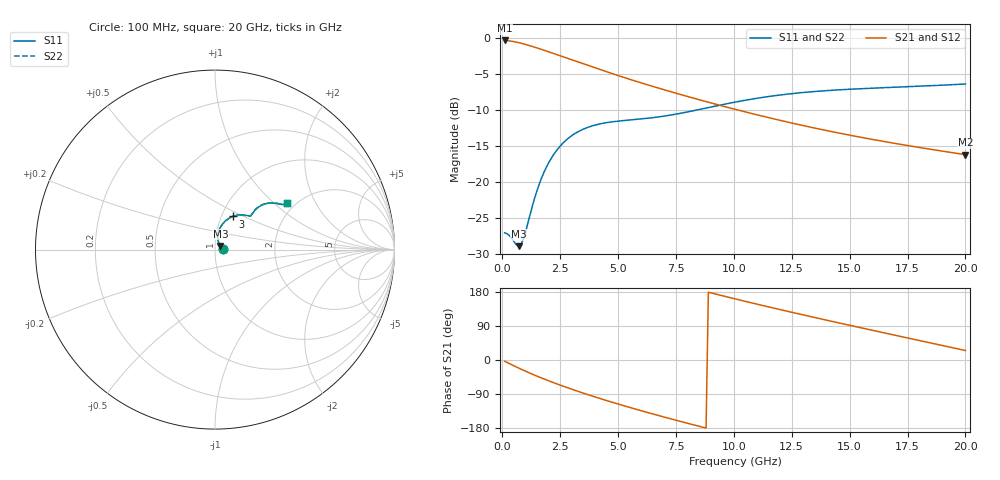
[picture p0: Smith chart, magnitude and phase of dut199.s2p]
! Touchstone file exported from HFSS 2023.1.0
!  File:  D:/Users/fzz/RDL_TSV/temp_RDL_TSV_199_1778756266.aedt
!  Generated:  7:08:25 %x4E0B%x5348  5%x6708 14, 2026
!  Design:  RDL_TSV
!  Project:  temp_RDL_TSV_199_1778756266
!  Setup:  Setup1
!  Solution:  Sweep
! Variables:
!  dtsv = 19.36um
!  hbump = 3um
!  htsv = 77.62um
!  ldown = 623.73um
!  lrdl = 657.12um
!  p = 40
!  p1 = 55.75um
!  rhole = 10um
!  subl = 4499.67um
!  t = 450um
!  tdown = 2.68um
!  trdl = 2.49um
!  viad = 10um
!  wdown = 24.06um
!  wrdl = 10.07um
!  xbump = 18um
# GHz S MA R 50.000000
! Terminal data exported
! Port[1] = TM1_1_T1
! Port[2] = TM1_4_T1
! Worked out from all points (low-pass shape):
!   200 points, 100 MHz to 20 GHz, reference 50 ohm
!   highest |S21| = -0.41 dB at 100 MHz (marker M1); lowest = -16.2 dB at 20 GHz (marker M2)
!   |S21| within 3 dB of the highest: start of sweep to 3.287 GHz
!   lowest |S11| = -28.9 dB at 700 MHz (marker M3), VSWR 1.07, Z = 53 + j2.12 ohm
!   |S11| at or under -10 dB: start of sweep to 8.45 GHz
!   |S22| runs from -28.9 to -6.4 dB; largest |S21 - S12| = 1.2e-12
!   S11 on the Smith chart (normalised r, x): 100 MHz: 1.09, +0.00; 3 GHz: 1.13, +0.44; 20 GHz: 1.82, +1.21
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0.1  0.04456 2.6  0.9543 -3.1  0.9543 -3.1  0.04457 2.6
! Gamma 0 0 0 0
! Port Impedance 50 0 50 0
0.4  0.04086 11.7  0.9427 -12.3  0.9427 -12.3  0.04087 11.7
0.7  0.03601 33.7  0.9222 -21.1  0.9222 -21.1  0.03605 33.6
0.8  0.03686 44.4  0.914 -24.0  0.914 -24.0  0.03689 44.2
0.9  0.03983 54.7  0.9053 -26.8  0.9053 -26.8  0.03985 54.5
1.5  0.08741 78.8  0.847 -42.6  0.847 -42.6  0.08725 78.7
1.9  0.1263 76.6  0.8066 -52.4  0.8066 -52.4  0.126 76.5
2.4  0.1697 70.1  0.7572 -64.0  0.7572 -64.0  0.1692 70.0
3  0.2095 61.9  0.701 -77.1  0.701 -77.1  0.2087 61.8
3.5  0.2324 56.0  0.6574 -87.5  0.6574 -87.5  0.2315 56.0
4.3  0.2542 49.1  0.5943 -103.2  0.5943 -103.2  0.253 49.0
5.1  0.265 45.1  0.5391 -118.0  0.5391 -118.0  0.2636 45.1
5.9  0.2723 43.5  0.4911 -132.1  0.4911 -132.1  0.2709 43.6
6.8  0.283 43.6  0.4441 -147.4  0.4441 -147.4  0.2816 43.7
8.3  0.3126 44.5  0.379 -171.8  0.379 -171.8  0.3116 44.8
10.1  0.3585 43.5  0.3173 160.6  0.3173 160.6  0.358 43.8
11.7  0.3947 40.9  0.2742 137.2  0.2742 137.2  0.3947 41.1
13.4  0.4221 37.8  0.238 113.4  0.238 113.4  0.4224 38.0
14.9  0.4378 35.5  0.2126 92.9  0.2126 92.9  0.4383 35.7
16.7  0.451 33.8  0.1882 68.8  0.1882 68.8  0.4516 33.9
18.3  0.4622 33.1  0.1705 47.6  0.1705 47.6  0.4628 33.1
20  0.477 32.8  0.1547 25.1  0.1547 25.1  0.4774 32.8
